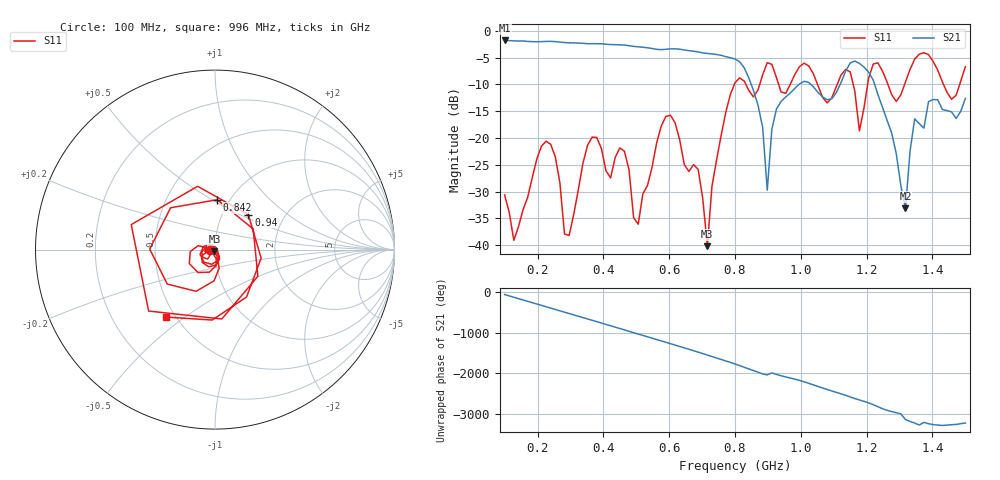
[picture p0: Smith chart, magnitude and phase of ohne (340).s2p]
! NanoVNA-App
! Date: 2025-09-25 14:23:26
! Start: 100MHz Stop: 1,5GHz Points: 101
! S-Parameter data: F S11 S21 S12 S22
# Hz S RI R 50
!  Frequency  S11_Real  S11_Imag  S21_Real  S21_Imag  S12_Real  S12_Imag  S22_Real  S22_Imag
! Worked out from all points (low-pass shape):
!   101 points, 100 MHz to 1.5 GHz, reference 50 ohm
!   highest |S21| = -1.79 dB at 100 MHz (marker M1); lowest = -33.1 dB at 1.318 GHz (marker M2)
!   |S21| within 3 dB of the highest: start of sweep to 770.9 MHz
!   lowest |S11| = -40.2 dB at 716 MHz (marker M3), VSWR 1.02, Z = 49.7 - j0.926 ohm
!   |S11| at or under -10 dB: start of sweep to 798 MHz; 833 MHz to 875.1 MHz (42.04 MHz wide, 4.92 % of centre); 1.051 GHz to 1.111 GHz (59.78 MHz wide, 5.53 % of centre) (the widest 3 of 7)
!   S12 and S22 are empty: the file has one direction only
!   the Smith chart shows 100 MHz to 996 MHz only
!   S11 on the Smith chart (normalised r, x): 100 MHz: 0.94, -0.01; 842 MHz: 0.88, +0.53; 940 MHz: 1.32, +0.56; 996 MHz: 0.45, -0.43
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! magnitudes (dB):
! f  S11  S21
! 100 MHz  -30.6  -1.8
! 128 MHz  -39.1  -1.9
! 226 MHz  -20.6  -2.0
! 296 MHz  -38.2  -2.2
! 338 MHz  -24.7  -2.3
! 464 MHz  -22.5  -2.7
! 506 MHz  -36.1  -3.0
! 576 MHz  -17.8  -3.5
! 688 MHz  -25.9  -3.9
! 716 MHz  -40.2  -4.2
! 800 MHz  -9.7  -5.3
! 842 MHz  -11.1  -8.8
! 898 MHz  -6.0  -29.8
! 940 MHz  -11.4  -13.2
! 996 MHz  -6.7  -9.9
! 1.038 GHz  -8.0  -10.4
! 1.178 GHz  -18.7  -6.1
! 1.22 GHz  -6.2  -9.2
! 1.276 GHz  -11.9  -19.1
! 1.318 GHz  -9.5  -33.1
! 1.346 GHz  -5.3  -16.4
! 1.5 GHz  -6.7  -12.6
